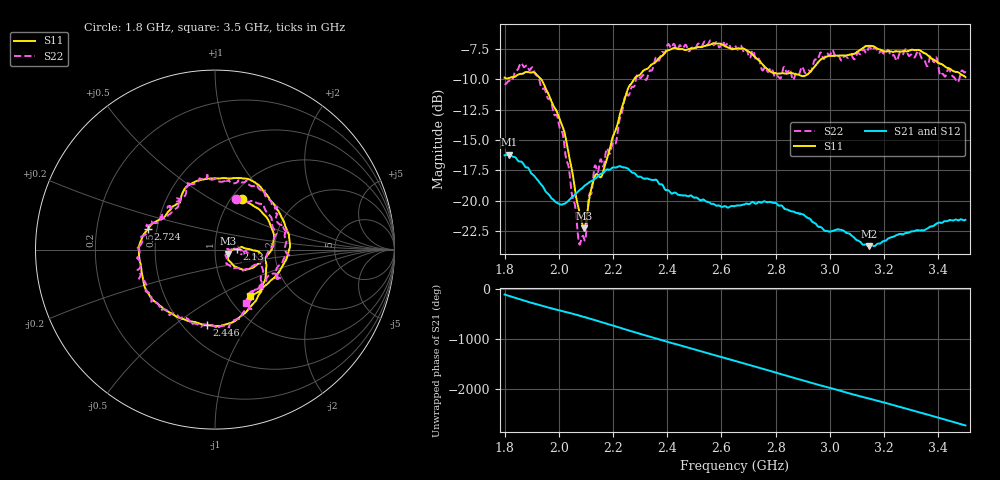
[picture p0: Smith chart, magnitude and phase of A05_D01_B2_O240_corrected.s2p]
! Created with skrf 1.9.0 (http://scikit-rf.org).
# Hz S RI R 50.0
!freq ReS11 ImS11 ReS21 ImS21 ReS12 ImS12 ReS22 ImS22
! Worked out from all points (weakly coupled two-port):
!   1601 points, 1.8 GHz to 3.5 GHz, reference 50 ohm
!   highest |S21| = -16.21 dB at 1.817 GHz (marker M1); lowest = -23.8 dB at 3.145 GHz (marker M2)
!   lowest |S11| = -22.3 dB at 2.093 GHz (marker M3), VSWR 1.17, Z = 57.8 - j2.7 ohm
!   |S11| at or under -10 dB: 1.935 GHz to 2.277 GHz (341.5 MHz wide, 16.2 % of centre)
!   |S22| runs from -23.6 to -6.8 dB; largest |S21 - S12| = 0.003
!   S11 on the Smith chart (normalised r, x): 1.8 GHz: 1.12, +0.71; 2.13 GHz: 1.28, +0.00; 2.446 GHz: 0.65, -0.66; 2.724 GHz: 0.45, +0.12; 3.5 GHz: 1.25, -0.72
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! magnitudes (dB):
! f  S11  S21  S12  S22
! 1.8 GHz  -9.8  -16.3  -16.3  -10.3
! 1.817 GHz  -9.9  -16.2  -16.2  -10.1
! 1.902 GHz  -9.4  -17.8  -17.8  -9.0
! 1.969 GHz  -11.6  -19.7  -19.7  -11.7
! 2.021 GHz  -14.4  -20.2  -20.3  -15.6
! 2.073 GHz  -20.7  -19.2  -19.2  -23.3
! 2.084 GHz  -21.6  -19.0  -19.0  -23.1
! 2.093 GHz  -22.3  -18.8  -18.9  -23.1
! 2.13 GHz  -18.2  -18.2  -18.2  -17.4
! 2.16 GHz  -17.9  -17.7  -17.7  -16.9
! 2.208 GHz  -14.3  -17.3  -17.2  -15.3
! 2.259 GHz  -10.6  -17.4  -17.4  -11.3
! 2.367 GHz  -8.3  -18.5  -18.5  -8.4
! 2.446 GHz  -7.5  -19.5  -19.5  -7.2
! 2.65 GHz  -7.5  -20.4  -20.4  -7.2
! 2.724 GHz  -8.2  -20.2  -20.2  -8.2
! 2.809 GHz  -9.5  -20.4  -20.3  -9.8
! 2.934 GHz  -9.2  -21.7  -21.7  -9.2
! 3.145 GHz  -7.2  -23.8  -23.7  -7.3
! 3.217 GHz  -7.7  -23.1  -23.1  -7.7
! 3.468 GHz  -9.4  -21.6  -21.6  -10.2
! 3.5 GHz  -9.8  -21.6  -21.6  -9.3
